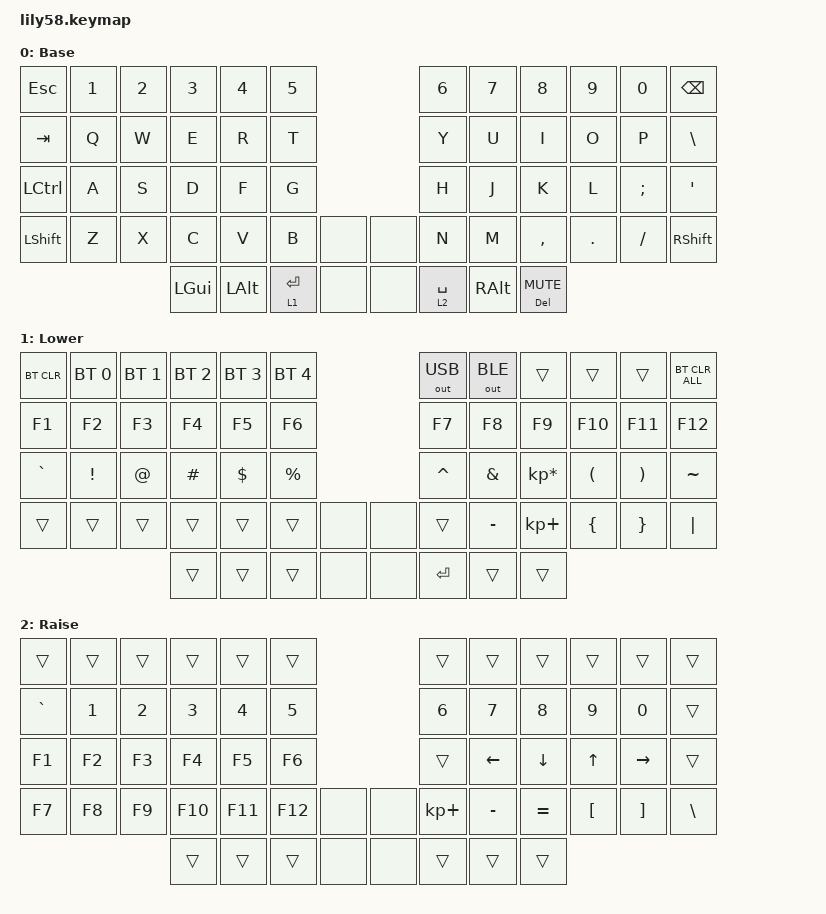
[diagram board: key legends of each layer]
/*
 * Copyright (c) 2020 The ZMK Contributors
 *
 * SPDX-License-Identifier: MIT
 */

#include <behaviors.dtsi>
#include <dt-bindings/zmk/bt.h>
#include <dt-bindings/zmk/keys.h>
#include <dt-bindings/zmk/outputs.h>

/ {

    keymap {
        compatible = "zmk,keymap";

        default_layer {
            // ------------------------------------------------------------------------------------------------------------
            // |  ESC  |  1  |  2  |  3   |  4   |  5   |                   |  6   |  7    |  8    |  9   |   0   |   `   |
            // |  TAB  |  Q  |  W  |  E   |  R   |  T   |                   |  Y   |  U    |  I    |  O   |   P   |   -   |
            // |  CTRL |  A  |  S  |  D   |  F   |  G   |                   |  H   |  J    |  K    |  L   |   ;   |   '   |
            // | SHIFT |  Z  |  X  |  C   |  V   |  B   |  n/a   |  |  n/a  |  N   |  M    |  ,    |  .   |   /   | SHIFT |
            //                     | GUI  | LOWER| SPACE|  n/a   |  |  n/a  | ENTER| RAISE | BSPC  |

            display-name = "Base";
            bindings = <
&kp ESC    &kp N1  &kp N2  &kp N3    &kp N4        &kp N5                     &kp N6             &kp N7         &kp N8          &kp N9   &kp N0         &kp BACKSPACE
&kp TAB    &kp Q   &kp W   &kp E     &kp R         &kp T                      &kp Y              &kp U          &kp I           &kp O    &kp P          &kp BSLH
&kp LCTRL  &kp A   &kp S   &kp D     &kp F         &kp G                      &kp H              &kp J          &kp K           &kp L    &kp SEMICOLON  &kp SQT
&kp LSHFT  &kp Z   &kp X   &kp C     &kp V         &kp B      &none    &none  &kp N              &kp M          &kp COMMA       &kp DOT  &kp FSLH       &kp RSHFT
                           &kp LGUI  &kp LEFT_ALT  &lt 1 RET  &none    &none  &lt 2 SPACE        &kp RIGHT_ALT  &mt DEL C_MUTE
            >;
        };

        lower_layer {
            // ------------------------------------------------------------------------------------------------------------
            // | BTCLR | BT1 | BT2 |  BT3 |  BT4 |  BT5 |                   | USB  | BLE   |       |      |       |BTCLRALL|
            // |  F1   |  F2 |  F3 |  F4  |  F5  |  F6  |                   |  F7  |  F8   |  F9   |  F10 |  F11  |  F12  |
            // |   `   |  !  |  @  |  #   |  $   |  %   |                   |  ^   |  &    |  *    |  (   |   )   |   ~   |
            // |       |     |     |      |      |      |  n/a   |  |  n/a  |      |  _    |  +    |  {   |   }   |  "|"  |
            //                     |      |      |      |  n/a   |  |  n/a  |      |       |       |

            display-name = "Lower";
            bindings = <
&bt BT_CLR  &bt BT_SEL 0  &bt BT_SEL 1  &bt BT_SEL 2  &bt BT_SEL 3  &bt BT_SEL 4                  &out OUT_USB  &out OUT_BLE  &trans           &trans    &trans    &bt BT_CLR_ALL
&kp F1      &kp F2        &kp F3        &kp F4        &kp F5        &kp F6                        &kp F7        &kp F8        &kp F9           &kp F10   &kp F11   &kp F12
&kp GRAVE   &kp EXCL      &kp AT        &kp HASH      &kp DOLLAR    &kp PRCNT                     &kp CARET     &kp AMPS      &kp KP_MULTIPLY  &kp LPAR  &kp RPAR  &kp TILDE
&trans      &trans        &trans        &trans        &trans        &trans        &none    &none  &trans        &kp MINUS     &kp KP_PLUS      &kp LBRC  &kp RBRC  &kp PIPE
                                        &trans        &trans        &trans        &none    &none  &kp RET       &trans        &trans
            >;
        };

        raise_layer {
            // ------------------------------------------------------------------------------------------------------------
            // |       |     |     |      |      |      |                   |      |       |       |      |       |       |
            // |   `   |  1  |  2  |  3   |  4   |  5   |                   |  6   |   7   |   8   |  9   |   0   |       |
            // |   F1  |  F2 |  F3 |  F4  |  F5  |  F6  |                   |      |   <-  |   v   |  ^   |  ->   |       |
            // |   F7  |  F8 |  F9 |  F10 |  F11 |  F12 |  n/a   |  |  n/a  |  +   |   -   |   =   |  [   |   ]   |   \   |
            //                     |      |      |      |  n/a   |  |  n/a  |      |       |       |

            display-name = "Raise";
            bindings = <
&trans     &trans  &trans  &trans   &trans   &trans                   &trans       &trans     &trans     &trans    &trans     &trans
&kp GRAVE  &kp N1  &kp N2  &kp N3   &kp N4   &kp N5                   &kp N6       &kp N7     &kp N8     &kp N9    &kp N0     &trans
&kp F1     &kp F2  &kp F3  &kp F4   &kp F5   &kp F6                   &trans       &kp LEFT   &kp DOWN   &kp UP    &kp RIGHT  &trans
&kp F7     &kp F8  &kp F9  &kp F10  &kp F11  &kp F12  &none    &none  &kp KP_PLUS  &kp MINUS  &kp EQUAL  &kp LBKT  &kp RBKT   &kp BSLH
                           &trans   &trans   &trans   &none    &none  &trans       &trans     &trans
            >;
        };
    };
};
